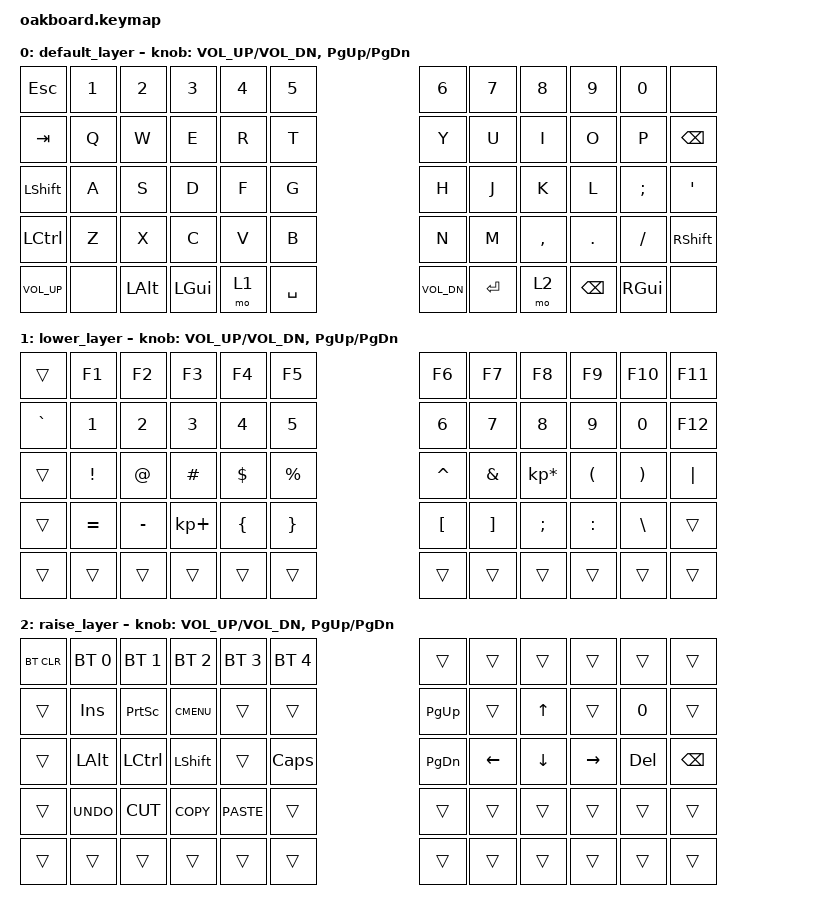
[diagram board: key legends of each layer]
/*
 * Copyright (c) 2020 The ZMK Contributors
 *
 * SPDX-License-Identifier: MIT
 */

#include <behaviors.dtsi>
#include <dt-bindings/zmk/keys.h>
#include <dt-bindings/zmk/bt.h>

// columns = 0,2,3,4,5,6,7,8,9,10,16,14 (left to right)
// rows = 15,18,19,20,21 (top to bottom)
// example: D is c4>>r3, so circuit is 4>>19

/ {
    keymap {
        compatible = "zmk,keymap";

        default_layer {
// ------------------------------------------------------------------------------------------------------------
// |  ESC  |  1  |  2  |  3   |  4   |  5   | col2row,left2right|  6   |  7    |  8    |  9   |   0   |   `   |
// |  TAB  |  Q  |  W  |  E   |  R   |  T   |                   |  Y   |  U    |  I    |  O   |   P   |   -   |
// | SHIFT |  A  |  S  |  D   |  F   |  G   |                   |  H   |  J    |  K    |  L   |   ;   |   '   |
// | CTRL  |  Z  |  X  |  C   |  V   |  B   |(c1)C_VOL_UP||(c7)C_VOL_DN|  N   |  M    |  ,    |  .   |   /   | SHIFT |
//          |(c3)ALT|(c4)LGUI|(c5)LOWER|(c6)SPACE|        |(c8)ENTER|(c9)RAISE|(c10)BKSPC|(c11)GUI|
            bindings = <
&kp ESC   &kp N1 &kp N2   &kp N3   &kp N4    &kp N5                     &kp N6 &kp N7    &kp N8    &kp N9   &kp N0   &none
&kp TAB   &kp Q  &kp W    &kp E    &kp R     &kp T                       &kp Y  &kp U     &kp I     &kp O    &kp P    &kp BSPC
&kp LSHFT &kp A  &kp S    &kp D    &kp F     &kp G                       &kp H  &kp J     &kp K     &kp L    &kp SEMI &kp SQT
&kp LCTRL &kp Z  &kp X    &kp C    &kp V     &kp B                      &kp N  &kp M     &kp COMMA &kp DOT  &kp FSLH &kp RSHFT
        &kp C_VOL_UP &none &kp LALT &kp LGUI &mo 1  &kp SPACE  &kp C_VOL_DN  &kp ENTER &mo 2  &kp BSPC &kp RGUI  &none
            >;

            sensor-bindings = <&inc_dec_kp C_VOL_UP C_VOL_DN &inc_dec_kp PG_UP PG_DN>;
        };

        lower_layer {
//
// ------------------------------------------------------------------------------------------------------------
// |       |  F1 |  F2 |  F3  |  F4  |  F5  |                   |  F6  |  F7   |  F8   |  F9  |  F10  |  F11  |
// | `     |   1 |   2 |   3  |   4  |   5  |                   |   6  |   7   |   8   |   9  |    0  |  F12  |
// |       |  !  |  @  |  #   |  $   |  %   |                   |  ^   |  &    |  *    |  (   |   )   |   |   |
// |       |  =  |  -  |  +   |  {   |  }   |        |  |       |  [   |  ]    |  ;    |  :   |   \   |       |
//               |     |      |      |      |        |  |       |      |       |       |      |
            bindings = <
&trans    &kp F1    &kp F2    &kp F3      &kp F4    &kp F5                    &kp F6    &kp F7   &kp F8          &kp F9    &kp F10   &kp F11
&kp GRAVE &kp N1    &kp N2    &kp N3      &kp N4    &kp N5                    &kp N6    &kp N7   &kp N8          &kp N9    &kp N0    &kp F12
&trans    &kp EXCL  &kp AT    &kp HASH    &kp DLLR  &kp PRCNT                 &kp CARET &kp AMPS &kp KP_MULTIPLY &kp LPAR  &kp RPAR  &kp PIPE
&trans    &kp EQUAL &kp MINUS &kp KP_PLUS &kp LBRC  &kp RBRC                  &kp LBKT  &kp RBKT &kp SEMI        &kp COLON &kp BSLH  &trans
&trans    &trans    &trans      &trans    &trans  &trans                      &trans    &trans   &trans          &trans    &trans    &trans
            >;

            sensor-bindings = <&inc_dec_kp C_VOL_UP C_VOL_DN &inc_dec_kp PG_UP PG_DN>;
        };

        raise_layer {
// ------------------------------------------------------------------------------------------------------------
// |     |      |      |       |       |      |                |      |      |       |      |       |       |
// |  `  |   1  |   2  |    3  |    4  |    5 |                |  6   |  7   |   8   |  9   |   10  |  11   |
// |     | INS  | PSCR | GUI   |       |      |                | PGUP |  <   |   \/  |  ^   |   >   |  BSPC |
// |     | UNDO | CUT  | COPY  | PASTE |      |      |  |      | PGDN |  INS | PSCRN|PAUSE_BREAK|       |       |
//              |      |       |       |      |      |  |      |      |      |       |      |
            bindings = <
&bt BT_CLR &bt BT_SEL 0 &bt BT_SEL 1 &bt BT_SEL 2 &bt BT_SEL 3 &bt BT_SEL 4             &trans    &trans    &trans   &trans    &trans  &trans
&trans     &kp INS      &kp PSCRN    &kp K_CMENU  &trans       &trans                   &kp PG_UP &trans    &kp UP   &trans    &kp N0  &trans
&trans     &kp LALT     &kp LCTRL    &kp LSHFT    &trans       &kp CLCK                 &kp PG_DN &kp LEFT  &kp DOWN &kp RIGHT &kp DEL &kp BSPC
&trans     &kp K_UNDO   &kp K_CUT    &kp K_COPY   &kp K_PASTE  &trans  &trans   &trans  &trans    &trans    &trans   &trans    &trans  &trans
                        &trans       &trans       &trans       &trans  &trans   &trans  &trans    &trans    &trans   &trans
            >;

            sensor-bindings = <&inc_dec_kp C_VOL_UP C_VOL_DN &inc_dec_kp PG_UP PG_DN>;
        };
    };
};
